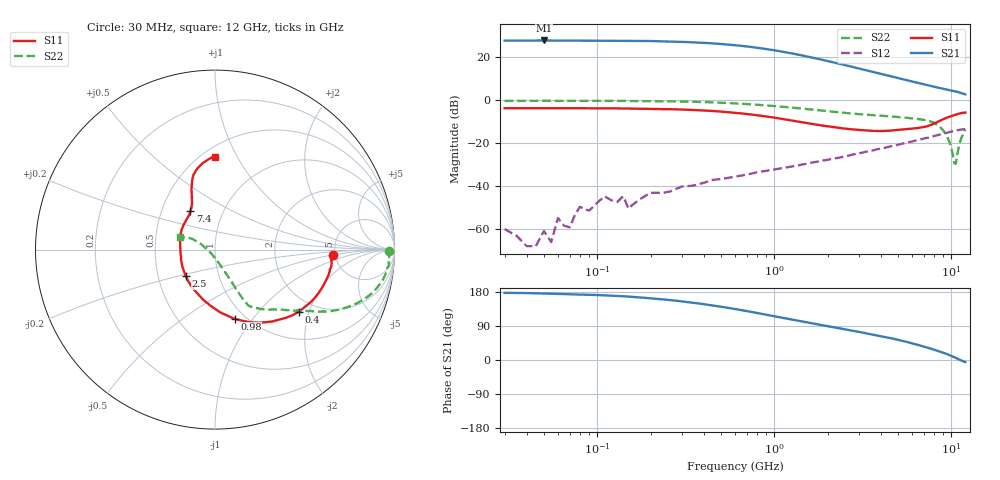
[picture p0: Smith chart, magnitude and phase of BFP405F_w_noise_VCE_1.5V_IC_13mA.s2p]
! Infineon Technologies  Discrete & RF Semiconductors
! BFP405F
! VCE =  1.5 V,  IC =  13 mA
! Common Emitter S-Parameters:  Nov 2015
# GHz  S  MA  R  50
!  f  S11  S21  S12  S22
! GHz  MAG  ANG  MAG  ANG  MAG  ANG  MAG  ANG
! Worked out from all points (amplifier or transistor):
!   239 points, 30 MHz to 12 GHz, reference 50 ohm
!   highest |S21| = 27.9 dB at 50 MHz (marker M1)
!   |S21| within 3 dB of that: start of sweep to 734.8 MHz
!   unconditionally stable (mu >= 1): 38.27 MHz to 52.55 MHz; 1.922 GHz to end of sweep
!   at 300 MHz: K = 0.20, MSG = 33.7 dB, |S12| = -40.2 dB
!   at 1.88 GHz: K = 0.99, MSG = 23.5 dB, |S12| = -28.1 dB
!   at 12 GHz: K = 1.39, MAG = 4.3 dB, |S12| = -13.3 dB
!   lowest NFmin = 1.86 dB at 450 MHz
!   S11 on the Smith chart (normalised r, x): 30 MHz: 4.75, -0.53; 400 MHz: 1.64, -1.71; 980 MHz: 0.89, -0.82; 2.5 GHz: 0.69, -0.22; 7.4 GHz: 0.70, +0.32; 12 GHz: 0.58, +0.82
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0.03  0.6558 -2.8  24.54 177.2  0.001 122.5  0.9683 -0.6
0.04  0.654 -3.7  24.61 176.6  0.0004 127.1  0.9702 -1.0
0.05  0.6498 -5.1  24.81 175.4  0.0009 20.3  0.9771 -1.7
0.055  0.6502 -5.1  24.69 175.0  0.0005 -156.1  0.9733 -1.7
0.06  0.6506 -5.1  24.58 174.6  0.0018 -157.9  0.9695 -1.6
0.07  0.6544 -6.7  24.59 173.4  0.0011 126.5  0.9716 -2.4
0.085  0.6538 -8.3  24.51 172.4  0.0029 124.1  0.9753 -3.2
0.145  0.6446 -14.1  24.34 167.9  0.0043 90.1  0.9693 -5.7
0.24  0.6262 -22.7  23.57 159.6  0.0071 86.5  0.9542 -9.5
0.3  0.6107 -28.1  23.03 154.7  0.0098 83.5  0.9382 -11.8
0.4  0.5803 -36.6  21.84 147.3  0.012 75.4  0.9133 -15.1
0.6  0.5119 -51.5  19.23 134.4  0.0166 72.6  0.8487 -20.5
0.74  0.4673 -60.4  17.5 127.0  0.0196 70.6  0.8065 -23.3
0.98  0.4001 -74.1  14.83 116.2  0.0241 68.8  0.7402 -27.4
1.3  0.3296 -90.0  12.06 105.3  0.0293 66.7  0.6682 -31.1
1.64  0.2813 -104.9  9.906 96.7  0.0356 66.6  0.6096 -34.0
2.5  0.2197 -137.7  6.631 80.9  0.0498 64.9  0.5097 -41.2
4.5  0.1967 171.7  3.649 58.1  0.084 59.4  0.4234 -51.6
7.4  0.2541 122.5  2.223 32.0  0.1357 47.1  0.3338 -60.1
9.2  0.3779 110.1  1.822 17.5  0.1709 37.6  0.1747 -63.7
10.4  0.4545 103.4  1.637 7.3  0.1945 30.3  0.0338 -112.0
12  0.5179 89.7  1.375 -5.6  0.2153 20.9  0.2068 159.8
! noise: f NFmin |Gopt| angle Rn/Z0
0.45  1.86  0.14  4  0.33
0.9  1.88  0.13  7  0.32
1.5  1.93  0.11  11  0.22
1.9  1.96  0.1  17  0.27
2.4  2.11  0.08  24  0.33
3  2.19  0.07  32  0.36
3.5  2.24  0.04  37  0.47
4.5  2.43  0.04  -69  0.18
5.5  2.69  0.13  -87  0.06
